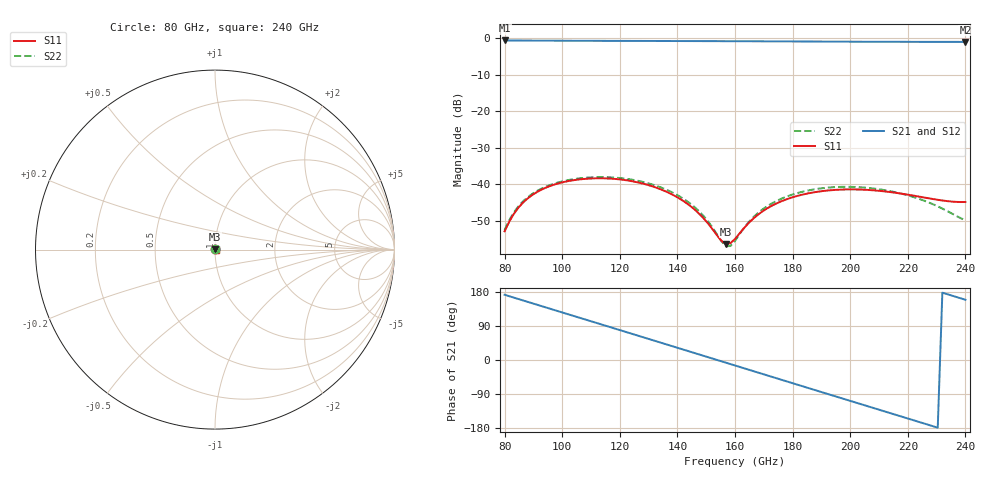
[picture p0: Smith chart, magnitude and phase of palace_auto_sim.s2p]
#  GHZ S DB R 50
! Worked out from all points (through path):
!   101 points, 80 GHz to 240 GHz, reference 50 ohm
!   highest |S21| = -0.64 dB at 80 GHz (marker M1); lowest = -1.0 dB at 240 GHz (marker M2)
!   group delay of S21, straight-line fit = 6.48 ps
!   lowest |S11| = -56.4 dB at 156.8 GHz (marker M3), VSWR 1.00, Z = 50.1 + j0.142 ohm
!   |S11| at or under -10 dB: start of sweep to end of sweep
!   |S22| runs from -57.0 to -38.1 dB; largest |S21 - S12| = 1.1e-14
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80  -52.90 45.0  -0.64 172.1  -0.64 172.1  -52.52 41.3
84.8  -46.42 4.7  -0.66 160.9  -0.66 160.9  -46.06 3.3
89.6  -42.96 -14.6  -0.68 149.7  -0.68 149.7  -42.65 -15.7
97.6  -40.02 -39.0  -0.71 131.1  -0.71 131.1  -39.75 -40.0
107.2  -38.60 -65.3  -0.73 108.8  -0.73 108.8  -38.30 -66.1
113.6  -38.39 -82.8  -0.75 93.9  -0.75 93.9  -38.06 -83.5
120  -38.70 -101.1  -0.76 79.0  -0.76 79.0  -38.31 -101.5
126.4  -39.53 -120.4  -0.78 64.0  -0.78 64.0  -39.09 -120.4
134.4  -41.47 -146.4  -0.79 45.4  -0.79 45.4  -40.94 -145.7
140.8  -43.97 -169.5  -0.81 30.4  -0.81 30.4  -43.36 -167.9
147.2  -47.81 162.3  -0.82 15.5  -0.82 15.5  -47.17 165.6
156.8  -56.38 69.8  -0.84 -7.0  -0.84 -7.0  -56.98 75.6
158.4  -56.17 42.9  -0.85 -10.7  -0.85 -10.7  -56.94 44.9
160  -55.00 19.7  -0.85 -14.5  -0.85 -14.5  -55.52 18.7
164.8  -50.59 -24.0  -0.87 -25.7  -0.87 -25.7  -50.35 -25.8
171.2  -46.61 -58.4  -0.89 -40.6  -0.89 -40.6  -46.02 -58.5
179.2  -43.79 -92.9  -0.91 -59.3  -0.91 -59.3  -43.04 -91.0
187.2  -42.26 -125.2  -0.94 -78.0  -0.94 -78.0  -41.46 -121.3
200  -41.43 -176.4  -0.98 -107.8  -0.98 -107.8  -40.73 -168.5
214.4  -42.21 125.6  -1.01 -141.3  -1.01 -141.3  -41.99 139.8
227.2  -43.86 69.9  -1.03 -171.1  -1.03 -171.1  -44.98 91.7
240  -44.88 1.3  -1.04 158.9  -1.04 158.9  -49.89 18.9
